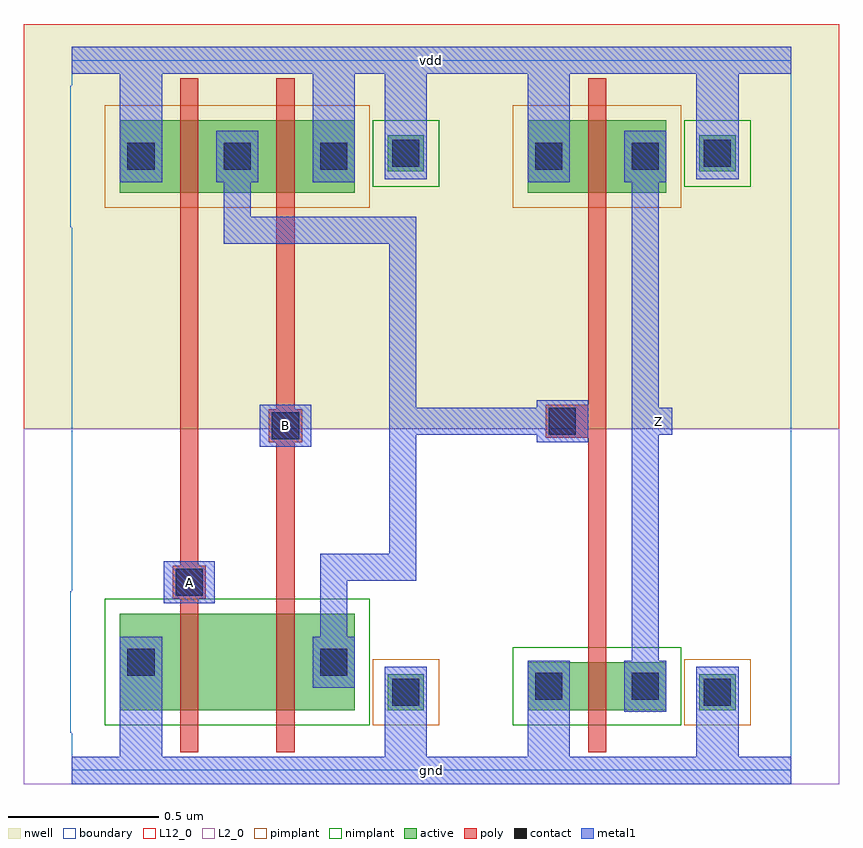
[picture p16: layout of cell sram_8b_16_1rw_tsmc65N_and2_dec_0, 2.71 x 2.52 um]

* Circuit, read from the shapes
.subckt sram_8b_16_1rw_tsmc65N_and2_dec_0 A B Z gnd vdd
M1 sram_8b_16_1rw_tsmc65N_pnand2_0/sram_8b_16_1rw_tsmc65N_nmos_m1_w0_320_sm1_dactive_2/D A gnd gnd nfet w=0.32u l=0.06u
M2 sram_8b_16_1rw_tsmc65N_pinv_1/A B sram_8b_16_1rw_tsmc65N_pnand2_0/sram_8b_16_1rw_tsmc65N_nmos_m1_w0_320_sm1_dactive_2/D gnd nfet w=0.32u l=0.06u
M3 Z sram_8b_16_1rw_tsmc65N_pinv_1/A gnd gnd nfet w=0.16u l=0.06u
M4 sram_8b_16_1rw_tsmc65N_pinv_1/A A vdd vdd pfet w=0.24u l=0.06u
M5 vdd B sram_8b_16_1rw_tsmc65N_pinv_1/A vdd pfet w=0.24u l=0.06u
M6 Z sram_8b_16_1rw_tsmc65N_pinv_1/A vdd vdd pfet w=0.24u l=0.06u
.ends

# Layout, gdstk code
import gdstk
lib = gdstk.Library(unit=1e-6, precision=1e-09)
def R(c, l, rs):  # rectangles x0, y0, x1, y1
    for r in rs: c.add(gdstk.rectangle(r[:2], r[2:], *l))
L2_0 = (2, 0)
nwell = (3, 0)
active = (6, 0)
L12_0 = (12, 0)
poly = (17, 0)
pimplant = (25, 0)
nimplant = (26, 0)
contact = (30, 0)
metal1 = (31, 0)
boundary = (108, 0)

sram_8b_16_1rw_tsmc65n_c = lib.new_cell('sram_8b_16_1rw_tsmc65N_contact_11')
R(sram_8b_16_1rw_tsmc65n_c, nwell, [(-0.165,-0.15,0.305,0.32)])
R(sram_8b_16_1rw_tsmc65n_c, active, [(0.01,0.025,0.13,0.145)])
R(sram_8b_16_1rw_tsmc65n_c, pimplant, [(-0.04,-0.025,0.18,0.195)])
R(sram_8b_16_1rw_tsmc65n_c, contact, [(0.025,0.04,0.115,0.13)])
R(sram_8b_16_1rw_tsmc65n_c, metal1, [(0,0,0.14,0.17)])
R(sram_8b_16_1rw_tsmc65n_c, boundary, [(-0.165,-0.15,0.305,0.32)])

sram_8b_16_1rw_tsmc65n_p = lib.new_cell('sram_8b_16_1rw_tsmc65N_pmos_m1_w0_242_sm1_dm1')
R(sram_8b_16_1rw_tsmc65n_p, nwell, [(-0.16,-0.16,0.62,0.4)])
R(sram_8b_16_1rw_tsmc65n_p, active, [(0,0,0.46,0.24)])
R(sram_8b_16_1rw_tsmc65n_p, L12_0, [(-0.16,-0.16,0.62,0.4)])
R(sram_8b_16_1rw_tsmc65n_p, poly, [(0.2,-0.14,0.26,0.38), (0.2,-0.14,0.26,0.38)])
R(sram_8b_16_1rw_tsmc65n_p, pimplant, [(-0.05,-0.05,0.51,0.29)])
R(sram_8b_16_1rw_tsmc65n_p, metal1, [(0,0.035,0.14,0.205), (0.32,0.035,0.46,0.205)])
R(sram_8b_16_1rw_tsmc65n_p, boundary, [(-0.16,-0.16,0.62,0.4)])
sram_8b_16_1rw_tsmc65n_p.add(gdstk.Reference(sram_8b_16_1rw_tsmc65n_c, (0,0.035)))
sram_8b_16_1rw_tsmc65n_p.add(gdstk.Reference(sram_8b_16_1rw_tsmc65n_c, (0.32,0.035)))
sram_8b_16_1rw_tsmc65n_p.add(gdstk.Label('G', (0.23,0.12), layer=17, texttype=0))
sram_8b_16_1rw_tsmc65n_p.add(gdstk.Label('S', (0.07,0.12), layer=31, texttype=0))
sram_8b_16_1rw_tsmc65n_p.add(gdstk.Label('D', (0.39,0.12), layer=31, texttype=0))

c_sram_8b_16_1rw_tsmc65n_c = lib.new_cell('sram_8b_16_1rw_tsmc65N_contact_10')
R(c_sram_8b_16_1rw_tsmc65n_c, L2_0, [(-0.165,-0.15,0.305,0.32)])
R(c_sram_8b_16_1rw_tsmc65n_c, active, [(0.01,0.025,0.13,0.145)])
R(c_sram_8b_16_1rw_tsmc65n_c, nimplant, [(-0.04,-0.025,0.18,0.195)])
R(c_sram_8b_16_1rw_tsmc65n_c, contact, [(0.025,0.04,0.115,0.13)])
R(c_sram_8b_16_1rw_tsmc65n_c, metal1, [(0,0,0.14,0.17)])
R(c_sram_8b_16_1rw_tsmc65n_c, boundary, [(-0.165,-0.15,0.305,0.32)])

sram_8b_16_1rw_tsmc65n_n = lib.new_cell('sram_8b_16_1rw_tsmc65N_nmos_m1_w0_320_sm1_dactive')
R(sram_8b_16_1rw_tsmc65n_n, L2_0, [(-0.16,-0.16,0.62,0.48)])
R(sram_8b_16_1rw_tsmc65n_n, active, [(0,0,0.46,0.32), (0.35,0.12,0.43,0.2)])
R(sram_8b_16_1rw_tsmc65n_n, L12_0, [(-0.16,-0.16,0.62,0.48)])
R(sram_8b_16_1rw_tsmc65n_n, poly, [(0.2,-0.14,0.26,0.46), (0.2,-0.14,0.26,0.46)])
R(sram_8b_16_1rw_tsmc65n_n, nimplant, [(-0.05,-0.05,0.51,0.37)])
R(sram_8b_16_1rw_tsmc65n_n, metal1, [(0,0.075,0.14,0.245)])
R(sram_8b_16_1rw_tsmc65n_n, boundary, [(-0.16,-0.16,0.62,0.48)])
sram_8b_16_1rw_tsmc65n_n.add(gdstk.Reference(c_sram_8b_16_1rw_tsmc65n_c, (0,0.075)))
sram_8b_16_1rw_tsmc65n_n.add(gdstk.Label('G', (0.23,0.16), layer=17, texttype=0))
sram_8b_16_1rw_tsmc65n_n.add(gdstk.Label('S', (0.07,0.16), layer=31, texttype=0))
sram_8b_16_1rw_tsmc65n_n.add(gdstk.Label('D', (0.39,0.16), layer=6, texttype=0))

c_sram_8b_16_1rw_tsmc65n_n = lib.new_cell('sram_8b_16_1rw_tsmc65N_nmos_m1_w0_320_sactive_dm1')
R(c_sram_8b_16_1rw_tsmc65n_n, L2_0, [(-0.16,-0.16,0.62,0.48)])
R(c_sram_8b_16_1rw_tsmc65n_n, active, [(0,0,0.46,0.32), (0.03,0.12,0.11,0.2)])
R(c_sram_8b_16_1rw_tsmc65n_n, L12_0, [(-0.16,-0.16,0.62,0.48)])
R(c_sram_8b_16_1rw_tsmc65n_n, poly, [(0.2,-0.14,0.26,0.46), (0.2,-0.14,0.26,0.46)])
R(c_sram_8b_16_1rw_tsmc65n_n, nimplant, [(-0.05,-0.05,0.51,0.37)])
R(c_sram_8b_16_1rw_tsmc65n_n, metal1, [(0.32,0.075,0.46,0.245)])
R(c_sram_8b_16_1rw_tsmc65n_n, boundary, [(-0.16,-0.16,0.62,0.48)])
c_sram_8b_16_1rw_tsmc65n_n.add(gdstk.Reference(c_sram_8b_16_1rw_tsmc65n_c, (0.32,0.075)))
c_sram_8b_16_1rw_tsmc65n_n.add(gdstk.Label('G', (0.23,0.16), layer=17, texttype=0))
c_sram_8b_16_1rw_tsmc65n_n.add(gdstk.Label('S', (0.07,0.16), layer=6, texttype=0))
c_sram_8b_16_1rw_tsmc65n_n.add(gdstk.Label('D', (0.39,0.16), layer=31, texttype=0))

c_sram_8b_16_1rw_tsmc65n_c_ = lib.new_cell('sram_8b_16_1rw_tsmc65N_contact_12')
R(c_sram_8b_16_1rw_tsmc65n_c_, nwell, [(-0.165,-0.15,0.305,0.32)])
R(c_sram_8b_16_1rw_tsmc65n_c_, active, [(0.01,0.025,0.13,0.145)])
R(c_sram_8b_16_1rw_tsmc65n_c_, nimplant, [(-0.04,-0.025,0.18,0.195)])
R(c_sram_8b_16_1rw_tsmc65n_c_, contact, [(0.025,0.04,0.115,0.13)])
R(c_sram_8b_16_1rw_tsmc65n_c_, metal1, [(0,0,0.14,0.17)])
R(c_sram_8b_16_1rw_tsmc65n_c_, boundary, [(-0.165,-0.15,0.305,0.32)])

c_sram_8b_16_1rw_tsmc65n_c__ = lib.new_cell('sram_8b_16_1rw_tsmc65N_contact_13')
R(c_sram_8b_16_1rw_tsmc65n_c__, L2_0, [(-0.165,-0.15,0.305,0.32)])
R(c_sram_8b_16_1rw_tsmc65n_c__, active, [(0.01,0.025,0.13,0.145)])
R(c_sram_8b_16_1rw_tsmc65n_c__, pimplant, [(-0.04,-0.025,0.18,0.195)])
R(c_sram_8b_16_1rw_tsmc65n_c__, contact, [(0.025,0.04,0.115,0.13)])
R(c_sram_8b_16_1rw_tsmc65n_c__, metal1, [(0,0,0.14,0.17)])
R(c_sram_8b_16_1rw_tsmc65n_c__, boundary, [(-0.165,-0.15,0.305,0.32)])

c_sram_8b_16_1rw_tsmc65n_c___ = lib.new_cell('sram_8b_16_1rw_tsmc65N_contact_14')
R(c_sram_8b_16_1rw_tsmc65n_c___, poly, [(0.03,0.015,0.14,0.125)])
R(c_sram_8b_16_1rw_tsmc65n_c___, contact, [(0.04,0.025,0.13,0.115)])
R(c_sram_8b_16_1rw_tsmc65n_c___, metal1, [(0,0,0.17,0.14)])
R(c_sram_8b_16_1rw_tsmc65n_c___, boundary, [(0,0,0.17,0.14)])

c_sram_8b_16_1rw_tsmc65n_p = lib.new_cell('sram_8b_16_1rw_tsmc65N_pnand2')
R(c_sram_8b_16_1rw_tsmc65n_p, L2_0, [(-0.16,-0.045,1.515,1.135)])
R(c_sram_8b_16_1rw_tsmc65n_p, nwell, [(-0.16,1.135,1.515,2.48)])
R(c_sram_8b_16_1rw_tsmc65n_p, L12_0, [(-0.16,-0.045,1.515,1.135), (-0.16,1.135,1.515,2.48)])
R(c_sram_8b_16_1rw_tsmc65n_p, poly, [(0.36,0.57,0.39,0.68), (0.36,0.66,0.42,1.78), (0.68,0.66,0.74,1.78), (0.68,1.09,0.71,1.2)])
R(c_sram_8b_16_1rw_tsmc65n_p, metal1, [(0,-0.045,1.355,0.045), (0.16,-0.045,0.3,0.275), (1.04,0,1.18,0.26), (0.825,0.445,0.915,0.675), (0.305,0.555,0.475,0.695), (0.825,0.63,0.915,0.72), (0.87,0.63,1.1,0.72), (1.055,0.63,1.145,0.72), (1.055,0.675,1.145,1.795), (0.625,1.075,0.795,1.215), (0.505,1.75,0.595,1.84), (0.55,1.75,1.1,1.84), (1.055,1.75,1.145,1.84), (0.505,1.795,0.595,1.955), (0.16,1.955,0.3,2.405), (0.8,1.955,0.94,2.405), (1.04,2.05,1.18,2.36), (0,2.315,1.355,2.405)])
R(c_sram_8b_16_1rw_tsmc65n_p, boundary, [(0,0,1.355,2.36), (0,0,1.355,2.36)])
c_sram_8b_16_1rw_tsmc65n_p.add(gdstk.Reference(sram_8b_16_1rw_tsmc65n_p, (0.16,1.92)))
c_sram_8b_16_1rw_tsmc65n_p.add(gdstk.Reference(sram_8b_16_1rw_tsmc65n_p, (0.48,1.92)))
c_sram_8b_16_1rw_tsmc65n_p.add(gdstk.Reference(sram_8b_16_1rw_tsmc65n_n, (0.16,0.2)))
c_sram_8b_16_1rw_tsmc65n_p.add(gdstk.Reference(c_sram_8b_16_1rw_tsmc65n_n, (0.48,0.2)))
c_sram_8b_16_1rw_tsmc65n_p.add(gdstk.Reference(c_sram_8b_16_1rw_tsmc65n_c_, (1.04,1.965)))
c_sram_8b_16_1rw_tsmc65n_p.add(gdstk.Reference(c_sram_8b_16_1rw_tsmc65n_c__, (1.04,0.175)))
c_sram_8b_16_1rw_tsmc65n_p.add(gdstk.Reference(c_sram_8b_16_1rw_tsmc65n_c___, (0.305,0.555)))
c_sram_8b_16_1rw_tsmc65n_p.add(gdstk.Reference(c_sram_8b_16_1rw_tsmc65n_c___, (0.625,1.075)))
c_sram_8b_16_1rw_tsmc65n_p.add(gdstk.Label('Z', (1.1,1.795), layer=31, texttype=0))
c_sram_8b_16_1rw_tsmc65n_p.add(gdstk.Label('gnd', (0.678,0), layer=31, texttype=0))
c_sram_8b_16_1rw_tsmc65n_p.add(gdstk.Label('vdd', (0.678,2.36), layer=31, texttype=0))
c_sram_8b_16_1rw_tsmc65n_p.add(gdstk.Label('A', (0.39,0.625), layer=31, texttype=0))
c_sram_8b_16_1rw_tsmc65n_p.add(gdstk.Label('B', (0.71,1.145), layer=31, texttype=0))

c_sram_8b_16_1rw_tsmc65n_p_ = lib.new_cell('sram_8b_16_1rw_tsmc65N_pmos_m1_w0_240_sm1_dm1_da_p')
R(c_sram_8b_16_1rw_tsmc65n_p_, nwell, [(-0.16,-0.16,0.62,0.4)])
R(c_sram_8b_16_1rw_tsmc65n_p_, active, [(0,0,0.46,0.24)])
R(c_sram_8b_16_1rw_tsmc65n_p_, L12_0, [(-0.16,-0.16,0.62,0.4)])
R(c_sram_8b_16_1rw_tsmc65n_p_, poly, [(0.2,-0.14,0.26,0.38), (0.2,-0.14,0.26,0.38)])
R(c_sram_8b_16_1rw_tsmc65n_p_, pimplant, [(-0.05,-0.05,0.51,0.29)])
R(c_sram_8b_16_1rw_tsmc65n_p_, metal1, [(0,0.035,0.14,0.205), (0.32,0.035,0.46,0.205)])
R(c_sram_8b_16_1rw_tsmc65n_p_, boundary, [(-0.16,-0.16,0.62,0.4)])
c_sram_8b_16_1rw_tsmc65n_p_.add(gdstk.Reference(sram_8b_16_1rw_tsmc65n_c, (0,0.035)))
c_sram_8b_16_1rw_tsmc65n_p_.add(gdstk.Reference(sram_8b_16_1rw_tsmc65n_c, (0.32,0.035)))
c_sram_8b_16_1rw_tsmc65n_p_.add(gdstk.Label('G', (0.23,0.12), layer=17, texttype=0))
c_sram_8b_16_1rw_tsmc65n_p_.add(gdstk.Label('S', (0.07,0.12), layer=31, texttype=0))
c_sram_8b_16_1rw_tsmc65n_p_.add(gdstk.Label('D', (0.39,0.12), layer=31, texttype=0))

c_sram_8b_16_1rw_tsmc65n_n_ = lib.new_cell('sram_8b_16_1rw_tsmc65N_nmos_m1_w0_160_sm1_dm1_da_p')
R(c_sram_8b_16_1rw_tsmc65n_n_, L2_0, [(-0.16,-0.16,0.62,0.32)])
R(c_sram_8b_16_1rw_tsmc65n_n_, active, [(0,0,0.46,0.16)])
R(c_sram_8b_16_1rw_tsmc65n_n_, L12_0, [(-0.16,-0.16,0.62,0.32)])
R(c_sram_8b_16_1rw_tsmc65n_n_, poly, [(0.2,-0.14,0.26,0.3), (0.2,-0.14,0.26,0.3)])
R(c_sram_8b_16_1rw_tsmc65n_n_, nimplant, [(-0.05,-0.05,0.51,0.21)])
R(c_sram_8b_16_1rw_tsmc65n_n_, metal1, [(0,-0.005,0.14,0.165), (0.32,-0.005,0.46,0.165)])
R(c_sram_8b_16_1rw_tsmc65n_n_, boundary, [(-0.16,-0.16,0.62,0.32)])
c_sram_8b_16_1rw_tsmc65n_n_.add(gdstk.Reference(c_sram_8b_16_1rw_tsmc65n_c, (0,-0.005)))
c_sram_8b_16_1rw_tsmc65n_n_.add(gdstk.Reference(c_sram_8b_16_1rw_tsmc65n_c, (0.32,-0.005)))
c_sram_8b_16_1rw_tsmc65n_n_.add(gdstk.Label('G', (0.23,0.08), layer=17, texttype=0))
c_sram_8b_16_1rw_tsmc65n_n_.add(gdstk.Label('S', (0.07,0.08), layer=31, texttype=0))
c_sram_8b_16_1rw_tsmc65n_n_.add(gdstk.Label('D', (0.39,0.08), layer=31, texttype=0))

c_sram_8b_16_1rw_tsmc65n_p__ = lib.new_cell('sram_8b_16_1rw_tsmc65N_pinv')
R(c_sram_8b_16_1rw_tsmc65n_p__, L2_0, [(-0.16,-0.045,1.195,1.135)])
R(c_sram_8b_16_1rw_tsmc65n_p__, nwell, [(-0.16,1.135,1.195,2.48)])
R(c_sram_8b_16_1rw_tsmc65n_p__, L12_0, [(-0.16,-0.045,1.195,1.135), (-0.16,1.135,1.195,2.48)])
R(c_sram_8b_16_1rw_tsmc65n_p__, poly, [(0.36,0.5,0.42,1.78), (0.275,1.105,0.36,1.215)])
R(c_sram_8b_16_1rw_tsmc65n_p__, metal1, [(0,-0.045,1.035,0.045), (0.16,-0.045,0.3,0.195), (0.72,0,0.86,0.26), (0.505,0.195,0.595,2.125), (0.19,1.09,0.36,1.23), (0.55,1.115,0.64,1.205), (0.16,1.955,0.3,2.405), (0.72,2.05,0.86,2.36), (0,2.315,1.035,2.405)])
R(c_sram_8b_16_1rw_tsmc65n_p__, boundary, [(0,0,1.035,2.36), (0,0,1.035,2.36)])
c_sram_8b_16_1rw_tsmc65n_p__.add(gdstk.Reference(c_sram_8b_16_1rw_tsmc65n_p_, (0.16,1.92)))
c_sram_8b_16_1rw_tsmc65n_p__.add(gdstk.Reference(c_sram_8b_16_1rw_tsmc65n_n_, (0.16,0.2)))
c_sram_8b_16_1rw_tsmc65n_p__.add(gdstk.Reference(c_sram_8b_16_1rw_tsmc65n_c_, (0.72,1.965)))
c_sram_8b_16_1rw_tsmc65n_p__.add(gdstk.Reference(c_sram_8b_16_1rw_tsmc65n_c__, (0.72,0.175)))
c_sram_8b_16_1rw_tsmc65n_p__.add(gdstk.Reference(c_sram_8b_16_1rw_tsmc65n_c___, (0.19,1.09)))
c_sram_8b_16_1rw_tsmc65n_p__.add(gdstk.Label('A', (0.275,1.16), layer=31, texttype=0))
c_sram_8b_16_1rw_tsmc65n_p__.add(gdstk.Label('Z', (0.595,1.16), layer=31, texttype=0))
c_sram_8b_16_1rw_tsmc65n_p__.add(gdstk.Label('gnd', (0.518,0), layer=31, texttype=0))
c_sram_8b_16_1rw_tsmc65n_p__.add(gdstk.Label('vdd', (0.518,2.36), layer=31, texttype=0))

sram_8b_16_1rw_tsmc65n_a = lib.new_cell('sram_8b_16_1rw_tsmc65N_and2_dec_0')
R(sram_8b_16_1rw_tsmc65n_a, metal1, [(0,-0.045,2.39,0.045), (0.305,0.555,0.475,0.695), (0.625,1.075,0.795,1.215), (1.055,1.115,1.145,1.205), (1.1,1.115,1.63,1.205), (1.905,1.115,1.995,1.205), (1.055,1.16,1.145,1.795), (0,2.315,2.39,2.405)])
R(sram_8b_16_1rw_tsmc65n_a, boundary, [(0,0,2.39,2.36)])
sram_8b_16_1rw_tsmc65n_a.add(gdstk.Reference(c_sram_8b_16_1rw_tsmc65n_p, (0,0)))
sram_8b_16_1rw_tsmc65n_a.add(gdstk.Reference(c_sram_8b_16_1rw_tsmc65n_p__, (1.355,0)))
sram_8b_16_1rw_tsmc65n_a.add(gdstk.Label('Z', (1.95,1.16), layer=31, texttype=0))
sram_8b_16_1rw_tsmc65n_a.add(gdstk.Label('A', (0.39,0.625), layer=31, texttype=0))
sram_8b_16_1rw_tsmc65n_a.add(gdstk.Label('B', (0.71,1.145), layer=31, texttype=0))
sram_8b_16_1rw_tsmc65n_a.add(gdstk.Label('gnd', (1.195,0), layer=31, texttype=0))
sram_8b_16_1rw_tsmc65n_a.add(gdstk.Label('vdd', (1.195,2.36), layer=31, texttype=0))

lib.write_gds('sram_8b_16_1rw_tsmc65N_and2_dec_0.gds')
